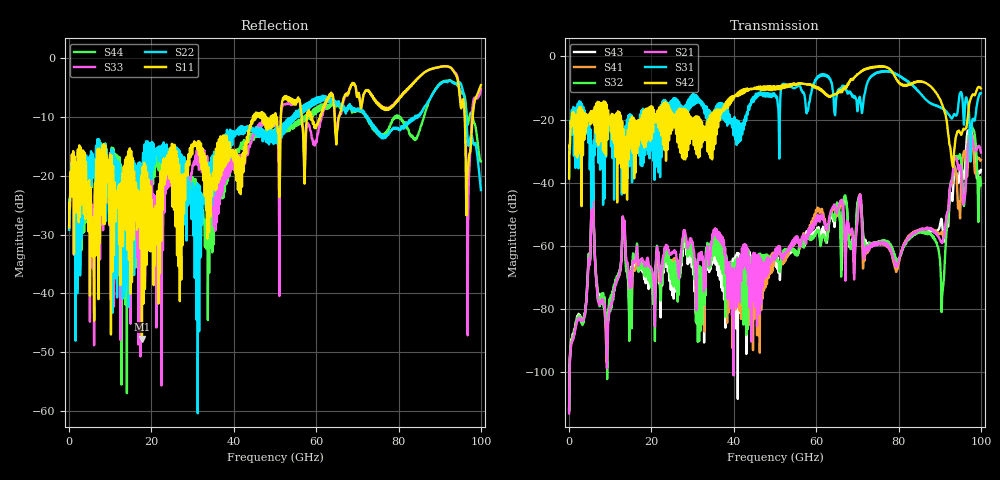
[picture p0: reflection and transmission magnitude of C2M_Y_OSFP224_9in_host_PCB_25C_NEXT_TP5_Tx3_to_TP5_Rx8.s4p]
# GHz S RI R 45
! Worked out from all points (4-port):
!   4000 points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, 25 MHz to 100 GHz, reference 45 ohm
!   strongest paths, dB at 25 MHz, 25.02 GHz, 50.02 GHz, 75.03 GHz, 100 GHz:
!     S42: -38.7, -23.4, -10.5, -3.3, -10.1
!     S31: -38.0, -14.1, -12.4, -5.0, -11.6
!     S21: -112.9, -62.2, -62.4, -58.8, -30.4
!     S32: -112.1, -70.5, -63.6, -58.6, -40.8
!     S41: -112.4, -64.7, -64.3, -59.3, -32.8
!     S43: -111.7, -74.3, -63.5, -59.0, -35.9
!   lowest |S11| = -47.8 dB at 17.7 GHz (marker M1), VSWR 1.01, Z = 45.1 + j0.352 ohm
!   |S11| at or under -10 dB: start of sweep to 44.62 GHz; 59.03 GHz to 60.93 GHz (1.901 GHz wide, 3.17 % of centre); 96.08 GHz to 98 GHz (1.927 GHz wide, 1.99 % of centre)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
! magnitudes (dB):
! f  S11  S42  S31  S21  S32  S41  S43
! 25 MHz  -28.8  -38.7  -38.0  -112.9  -112.1  -112.4  -111.7
! 5.7 GHz  -33.4  -17.9  -35.8  -41.1  -41.0  -41.0  -41.0
! 7.4 GHz  -17.3  -16.7  -16.7  -78.5  -79.1  -77.8  -77.2
! 17.7 GHz  -47.8  -18.7  -21.7  -64.0  -64.2  -65.0  -65.6
! 90.67 GHz  -1.4  -15.5  -16.5  -58.9  -74.7  -56.5  -54.5
! 93.85 GHz  -2.7  -25.9  -18.6  -32.0  -31.6  -35.7  -36.5
! 100 GHz  -4.6  -10.1  -11.6  -30.4  -40.8  -32.8  -35.9
